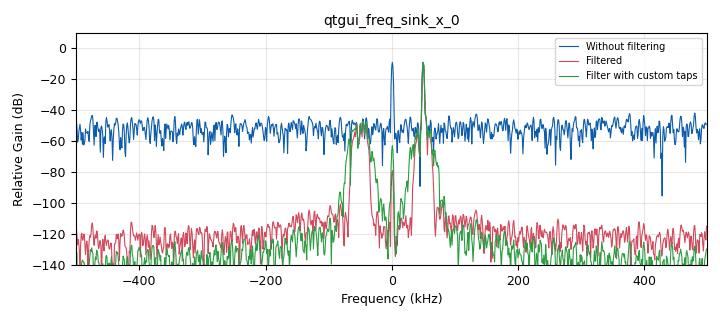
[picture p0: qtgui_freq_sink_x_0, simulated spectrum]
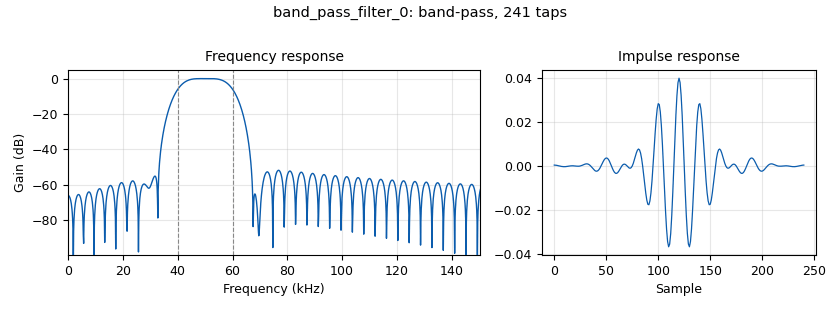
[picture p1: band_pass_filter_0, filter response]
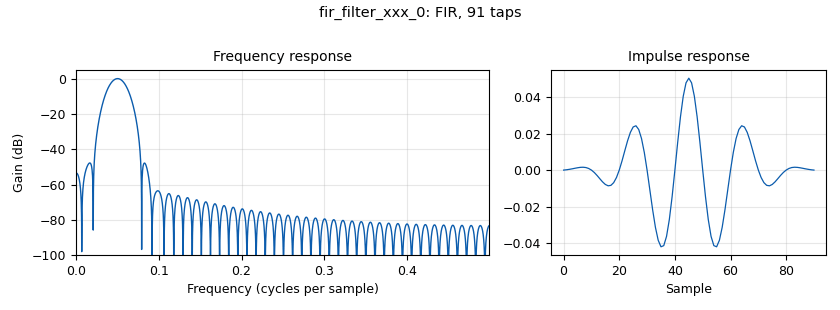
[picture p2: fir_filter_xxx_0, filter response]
options:
  parameters:
    generate_options: qt_gui
    id: run_band_pass_filtering_test
    output_language: python
    title: Band-pass filter test
  states: {}

blocks:
- name: samp_rate
  id: variable
  parameters:
    value: 1e6
  states: {}
- name: sig_freq
  id: variable_qtgui_range
  parameters:
    label: Sig freq
    orient: Qt.Horizontal
    start: '0'
    step: 1e3
    stop: 500e3
    value: 1e3
  states: {}
- name: analog_noise_source_x_0
  id: analog_noise_source_x
  parameters:
    amp: '0.2'
    noise_type: analog.GR_GAUSSIAN
    seed: '0'
    type: complex
  states: {}
- name: analog_sig_source_x_0
  id: analog_sig_source_x
  parameters:
    amp: '1'
    freq: 50e3
    offset: '0'
    phase: '0'
    samp_rate: samp_rate
    type: complex
    waveform: analog.GR_COS_WAVE
  states: {}
- name: analog_sig_source_x_0_0
  id: analog_sig_source_x
  parameters:
    amp: '1'
    freq: sig_freq
    offset: '0'
    phase: '0'
    samp_rate: samp_rate
    type: complex
    waveform: analog.GR_COS_WAVE
  states: {}
- name: band_pass_filter_0
  id: band_pass_filter
  parameters:
    decim: '1'
    gain: '1'
    high_cutoff_freq: 60e3
    low_cutoff_freq: 40e3
    samp_rate: samp_rate
    type: fir_filter_ccf
    width: 10e3
    win: firdes.WIN_HAMMING
  states: {}
- name: blocks_add_xx_0
  id: blocks_add_xx
  parameters:
    num_inputs: '3'
    type: complex
  states: {}
- name: blocks_throttle_0
  id: blocks_throttle
  parameters:
    samples_per_second: samp_rate
    type: complex
  states: {}
- name: blocks_throttle_0_0
  id: blocks_throttle
  parameters:
    samples_per_second: samp_rate
    type: complex
  states: {}
- name: fir_filter_xxx_0
  id: fir_filter_xxx
  parameters:
    decim: '1'
    taps: '[-1.582237021052084e-19,0.0001681276480667293,0.0003941445320378989,0.0006699017831124365,0.0009746680734679103,0.001269185682758689,0.0014924464048817754,0.0015637254109606147,0.0013915703166276217,0.0008899606764316559,1.6698297093559501e-18,-0.0012863529846072197,-0.0029054058250039816,-0.004709175787866116,-0.006466098595410585,-0.007878265343606472,-0.008615775965154171,-0.008365524001419544,-0.006888464093208313,-0.004076661542057991,-2.035015060547086e-18,0.00506744347512722,0.010649355128407478,0.016101788729429245,0.020679807290434837,0.023630153387784958,0.02429884485900402,0.02223888784646988,0.017301522195339203,0.009695200249552727,1.5990483192891244e-17,-0.010869291611015797,-0.02175082266330719,-0.03136584907770157,-0.038476213812828064,-0.04204870015382767,-0.041403528302907944,-0.036325130611658096,-0.02711763046681881,-0.014594373293220997,-0.0,0.015127097256481647,0.02913532964885235,0.040460310876369476,0.047818657010793686,0.05036904662847519,0.047818657010793686,0.040460310876369476,0.02913532964885235,0.015127097256481647,0.0,-0.014594373293220997,-0.02711763046681881,-0.036325130611658096,-0.041403528302907944,-0.04204870015382767,-0.038476213812828064,-0.03136584907770157,-0.02175082266330719,-0.010869291611015797,1.5990483192891244e-17,0.009695200249552727,0.017301522195339203,0.02223888784646988,0.02429884485900402,0.023630153387784958,0.020679807290434837,0.016101788729429245,0.010649355128407478,0.00506744347512722,-2.035015060547086e-18,-0.004076661542057991,-0.006888464093208313,-0.008365524001419544,-0.008615775965154171,-0.007878265343606472,-0.006466098595410585,-0.004709175787866116,-0.0029054058250039816,-0.0012863529846072197,1.6698297093559501e-18,0.0008899606764316559,0.0013915703166276217,0.0015637254109606147,0.0014924464048817754,0.001269185682758689,0.0009746680734679103,0.0006699017831124365,0.0003941445320378989,0.0001681276480667293,-1.582237021052084e-19]'
    type: ccc
  states: {}
- name: qtgui_freq_sink_x_0
  id: qtgui_freq_sink_x
  parameters:
    bw: samp_rate
    fc: '0'
    fftsize: '1024'
    label1: '''Without filtering'''
    label2: '''Filtered'''
    label3: '''Filter with custom taps'''
    nconnections: '3'
    type: complex
    wintype: firdes.WIN_BLACKMAN_hARRIS
  states: {}

connections:
- [analog_noise_source_x_0, '0', blocks_add_xx_0, '2']
- [analog_sig_source_x_0, '0', blocks_throttle_0, '0']
- [analog_sig_source_x_0_0, '0', blocks_throttle_0_0, '0']
- [band_pass_filter_0, '0', qtgui_freq_sink_x_0, '1']
- [blocks_add_xx_0, '0', band_pass_filter_0, '0']
- [blocks_add_xx_0, '0', fir_filter_xxx_0, '0']
- [blocks_add_xx_0, '0', qtgui_freq_sink_x_0, '0']
- [blocks_throttle_0, '0', blocks_add_xx_0, '0']
- [blocks_throttle_0_0, '0', blocks_add_xx_0, '1']
- [fir_filter_xxx_0, '0', qtgui_freq_sink_x_0, '2']

metadata:
  file_format: 1
